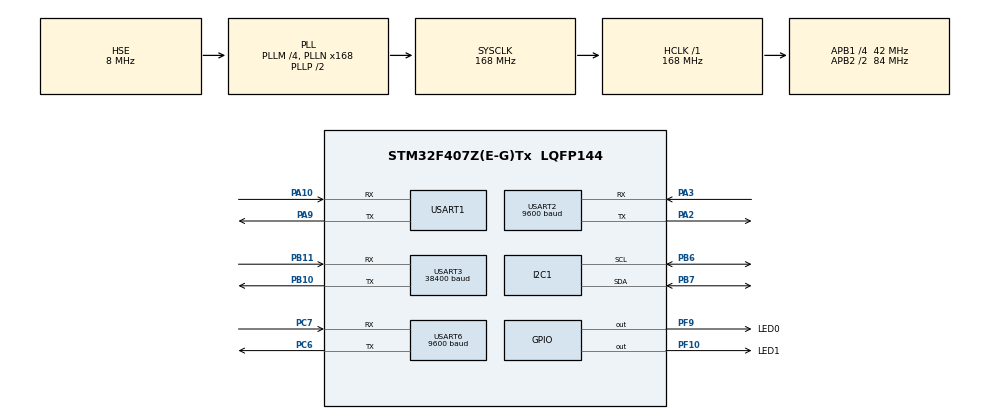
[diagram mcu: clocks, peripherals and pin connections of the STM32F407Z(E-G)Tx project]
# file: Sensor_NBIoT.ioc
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Mcu.Family=STM32F4
Mcu.Name=STM32F407Z(E-G)Tx
Mcu.Package=LQFP144
NVIC.PriorityGroup=NVIC_PRIORITYGROUP_4
NVIC.TIM2_IRQn=true\:10\:0\:true\:false\:true\:true\:true
NVIC.TIM3_IRQn=true\:0\:0\:false\:false\:true\:true\:true
NVIC.USART3_IRQn=true\:0\:0\:false\:false\:true\:true\:true
PA10.Mode=Asynchronous
PA10.Signal=USART1_RX
PA13.Mode=Serial_Wire
PA13.Signal=SYS_JTMS-SWDIO
PA14.Mode=Serial_Wire
PA14.Signal=SYS_JTCK-SWCLK
PA2.Mode=Asynchronous
PA2.Signal=USART2_TX
PA3.Mode=Asynchronous
PA3.Signal=USART2_RX
PA9.Mode=Asynchronous
PA9.Signal=USART1_TX
PB10.Mode=Asynchronous
PB10.Signal=USART3_TX
PB11.Mode=Asynchronous
PB11.Signal=USART3_RX
PB6.Mode=I2C
PB6.Signal=I2C1_SCL
PB7.Mode=I2C
PB7.Signal=I2C1_SDA
PC6.Mode=Asynchronous
PC6.Signal=USART6_TX
PC7.Mode=Asynchronous
PC7.Signal=USART6_RX
PF10.GPIO_Label=LED1
PF10.PinState=GPIO_PIN_SET
PF10.Signal=GPIO_Output
PF9.GPIO_Label=LED0
PF9.PinState=GPIO_PIN_SET
PF9.Signal=GPIO_Output
PH0-OSC_IN.Mode=HSE-External-Oscillator
PH0-OSC_IN.Signal=RCC_OSC_IN
PH1-OSC_OUT.Mode=HSE-External-Oscillator
PH1-OSC_OUT.Signal=RCC_OSC_OUT
ProjectManager.HeapSize=0x200
ProjectManager.StackSize=0x400
ProjectManager.TargetToolchain=SW4STM32
RCC.48MHZClocksFreq_Value=84000000
RCC.AHBFreq_Value=168000000
RCC.APB1CLKDivider=RCC_HCLK_DIV4
RCC.APB1Freq_Value=42000000
RCC.APB1TimFreq_Value=84000000
RCC.APB2CLKDivider=RCC_HCLK_DIV2
RCC.APB2Freq_Value=84000000
RCC.APB2TimFreq_Value=168000000
RCC.CortexFreq_Value=168000000
RCC.HCLKFreq_Value=168000000
RCC.HSE_VALUE=8000000
RCC.HSI_VALUE=16000000
RCC.LSE_VALUE=32768
RCC.PLLM=4
RCC.PLLN=168
RCC.PLLSourceVirtual=RCC_PLLSOURCE_HSE
RCC.SYSCLKFreq_VALUE=168000000
RCC.SYSCLKSource=RCC_SYSCLKSOURCE_PLLCLK
RCC.VCOOutputFreq_Value=336000000
TIM2.AutoReloadPreload=TIM_AUTORELOAD_PRELOAD_ENABLE
TIM2.Period=4999
TIM2.Prescaler=8399
TIM3.AutoReloadPreload=TIM_AUTORELOAD_PRELOAD_ENABLE
TIM3.Period=99
TIM3.Prescaler=8399
USART1.VirtualMode=VM_ASYNC
USART2.BaudRate=9600
USART2.VirtualMode=VM_ASYNC
USART3.BaudRate=38400
USART3.VirtualMode=VM_ASYNC
USART6.BaudRate=9600
USART6.VirtualMode=VM_ASYNC
VP_TIM2_VS_ClockSourceINT.Mode=Internal
VP_TIM3_VS_ClockSourceINT.Mode=Internal
board=custom

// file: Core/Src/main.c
/* USER CODE BEGIN Header */
/**
  ******************************************************************************
  * @file           : main.c
  * @brief          : Main program body
  ******************************************************************************
  * @attention
  *
  * <h2><center>&copy; Copyright (c) 2020 STMicroelectronics.
  * All rights reserved.</center></h2>
  *
  * This software component is licensed by ST under BSD 3-Clause license,
  * the "License"; You may not use this file except in compliance with the
  * License. You may obtain a copy of the License at:
  *                        opensource.org/licenses/BSD-3-Clause
  *
  ******************************************************************************
  */
/* USER CODE END Header */
#include "main.h"
#include "i2c.h"
#include "tim.h"
#include "usart.h"
#include "gpio.h"

/* USER CODE BEGIN Includes */
#include <retarget.h>
#include <stdio.h>
#include <math.h>
#include "gps.h"
#include "wh-nb73.h"
#include "INA226.h"
/* USER CODE END Includes */

/* USER CODE BEGIN PD */
#define PI 3.14159265
/* USER CODE END PD */

/* USER CODE BEGIN PV */
/*-------------------Sensor-------------------*/
uint8_t soil_temperature_humidity_ask[8] = {0x01, 0x03, 0x00, 0x00, 0x00, 0x02, 0xc4, 0x0b};
uint8_t soil_temperature_humidity_answer[9];
float soil_temperature, soil_humidity;

uint8_t wind_direction_ask[8] = {0x02, 0x03, 0x00, 0x00, 0x00, 0x02, 0xc4, 0x38};
uint8_t wind_direction_answer[9];
float wind_direction;

uint8_t wind_speed_ask[8] = {0x03, 0x03, 0x00, 0x00, 0x00, 0x01, 0x85, 0xe8};
uint8_t wind_speed_answer[7];
float wind_speed;

uint8_t air_multi_element_ask[8] = {0x04, 0x03, 0x01, 0xf4, 0x00, 0x08, 0x04, 0x57};
uint8_t air_multi_element_answer[21];
float air_temperature, air_humidity, air_noise;
short  air_pressure, air_pm2_5, air_pm10;
int air_light;

uint8_t air_quality_ask[8] = {0x0A, 0x03, 0x00, 0x05, 0x00, 0x02, 0xD5, 0x71};
uint8_t air_quality_answer[9];
uint16_t air_CO2, air_CO;

uint8_t air_quality_ask2[8] = {0x0A, 0x03, 0x00, 0x0A, 0x00, 0x01, 0xA5, 0x73};
uint8_t air_quality_answer2[7];
float air_O2;

/*-------------------GPS-------------------*/
uint8_t USART1_TX_BUF[USART3_MAX_RECV_LEN];//串口1,发送缓存区
nmea_msg gpsx;//GPS信息
uint8_t dtbuf[50];//打印缓存器
const char *fixmode_tbl[4] = {"Fail","Fail"," 2D "," 3D "};	//fix mode字符串

/*-------------------Wind Sensor-------------------*/
uint16_t wind_direction_raw[500];
uint16_t wind_speed_raw[500];
int wind_data_num;
uint16_t wind_direction_average;
uint16_t wind_speed_average;
uint16_t wind_direction_max;
uint16_t wind_speed_max = 0;

/*-------------------Power Source Sensor-------------------*/
float bus_voltage_raw;
float bus_power_raw;
float shunt_voltage_raw;
float shunt_current_raw;
int power_data_num;
float bus_power_raw_buf[200];
uint32_t bus_voltage;
uint16_t shunt_current;
int16_t bus_power;
int16_t bus_power_average;
/* USER CODE END PV */

void SystemClock_Config(void);

/* USER CODE BEGIN 0 */
void readSensor(void)
{
    uint16_t crc_data;
    uint8_t data = 0;
    printf("-------------------Sensor-------------------\r\n");
    HAL_Delay(200);
    //Sensor - soil_temperature_humidity
    HAL_UART_Transmit(&huart2, soil_temperature_humidity_ask, 8, 100);
    while (1){
        HAL_UART_Receive(&huart2, &data,1,100);
        while (data != 0x01) {
            if (HAL_UART_Receive(&huart2, &data,1,100) != HAL_OK){
                break;
            }
        }
        if (data == 0x01) {
            soil_temperature_humidity_answer[0] = 0x01;
            HAL_UART_Receive(&huart2,soil_temperature_humidity_answer + 1,8,100);
        }
        if (soil_temperature_humidity_answer[0] == 0x01){
            crc_data = (uint16_t)(soil_temperature_humidity_answer[8] << 8) + soil_temperature_humidity_answer[7];
            if(crc16(soil_temperature_humidity_answer, 7) == crc_data){
                break;
            }
        }
        printf("Sensor - soil_temperature_humidity Read Error!\r\n");
        HAL_Delay(200);
        HAL_UART_Transmit(&huart2, soil_temperature_humidity_ask, 8, 100);
    }
    soil_humidity = (((uint16_t)soil_temperature_humidity_answer[3] << 8) + soil_temperature_humidity_answer[4])/10.0;
    soil_temperature = (((int16_t)soil_temperature_humidity_answer[5] << 8) + soil_temperature_humidity_answer[6])/10.0;
    printf("soil_humidity = %.1f%% RH, soil_temperature = %.1f C\r\n", soil_humidity, soil_temperature);

    HAL_Delay(200);
    //Sensor - air_multi_element
    HAL_UART_Transmit(&huart2, air_multi_element_ask, 8, 100);
    while (1){
        HAL_UART_Receive(&huart2, &data,1,100);
        while (data != 0x04) {
            if (HAL_UART_Receive(&huart2, &data,1,100) != HAL_OK){
                break;
            }
        }
        if (data == 0x04) {
            air_multi_element_answer[0] = 0x04;
            HAL_UART_Receive(&huart2,air_multi_element_answer + 1,20,100);
        }
        if (air_multi_element_answer[0] == 0x04){
            crc_data = (uint16_t)(air_multi_element_answer[20] << 8) + air_multi_element_answer[19];
            if(crc16(air_multi_element_answer, 19) == crc_data){
                break;
            }
        }
        printf("Sensor - air_multi_element Read Error!\r\n");
        HAL_UART_Transmit(&huart2, air_multi_element_ask, 8, 100);
    }
    air_humidity = (((uint16_t)air_multi_element_answer[3] << 8) + air_multi_element_answer[4])/10.0;
    air_temperature = (((int16_t)air_multi_element_answer[5] << 8) + air_multi_element_answer[6])/10.0;
    air_noise = (((uint16_t)air_multi_element_answer[7] << 8) + air_multi_element_answer[8])/10.0;
    air_pm2_5 = ((uint16_t)air_multi_element_answer[9] << 8) + air_multi_element_answer[10];
    air_pm10 = ((uint16_t)air_multi_element_answer[11] << 8) + air_multi_element_answer[12];
    air_pressure = ((uint16_t)air_multi_element_answer[13] << 8) + air_multi_element_answer[14];
    air_light = ((uint32_t)air_multi_element_answer[15] << 24) + ((uint32_t)air_multi_element_answer[16] << 16) +
                ((uint32_t)air_multi_element_answer[17] << 8) + air_multi_element_answer[18];
    printf("air_humidity = %.1f%% RH, air_temperature = %.1f C\r\n", air_humidity, air_temperature);
    printf("air_pm2.5 = %d ug/m^3, air_pm10 = %d ug/m^3\r\n", air_pm2_5, air_pm10);
    printf("air_pressure = %d hpa, air_light = %d Lux\r\n", air_pressure, air_light);

    HAL_Delay(200);
    //Sensor - air_quality
    HAL_UART_Transmit(&huart2, air_quality_ask, 8, 100);
    while (1){
        HAL_UART_Receive(&huart2, &data,1,100);
        while (data != 0x0A) {
            if (HAL_UART_Receive(&huart2, &data,1,100) != HAL_OK){
                break;
            }
        }
        if (data == 0x0A) {
            air_quality_answer[0] = 0x0A;
            HAL_UART_Receive(&huart2,air_quality_answer + 1,8,100);
        }
        if (air_quality_answer[0] == 0x0A){
            crc_data = (uint16_t)(air_quality_answer[8] << 8) + air_quality_answer[7];
            if(crc16(air_quality_answer, 7) == crc_data){
                break;
            }
        }
        printf("Sensor - air_quality Read Error!\r\n");
        HAL_UART_Transmit(&huart2, air_quality_ask, 8, 100);
    }
    air_CO2 = ((uint16_t)air_quality_answer[3] << 8) + air_quality_answer[4];
    air_CO = ((uint16_t)air_quality_answer[5] << 8) + air_quality_answer[6];
    printf("air_CO2 = %d ppm, air_CO = %d ppm\r\n", air_CO2, air_CO);

    HAL_Delay(200);
    HAL_UART_Transmit(&huart2, air_quality_ask2, 8, 100);
    while (1){
        HAL_UART_Receive(&huart2, &data,1,100);
        while (data != 0x0A) {
            if (HAL_UART_Receive(&huart2, &data,1,100) != HAL_OK){
                break;
            }
        }
        if (data == 0x0A) {
            air_quality_answer2[0] = 0x0A;
            HAL_UART_Receive(&huart2,air_quality_answer2 + 1,6,100);
        }
        if (air_quality_answer2[0] == 0x0A){
            crc_data = (uint16_t)(air_quality_answer2[6] << 8) + air_quality_answer2[5];
            if(crc16(air_quality_answer2, 5) == crc_data){
                break;
            }
        }
        printf("Sensor - air O2 Read Error!\r\n");
        HAL_UART_Transmit(&huart2, air_quality_ask2, 8, 100);
    }
    air_O2 = (((uint16_t)air_quality_answer2[3] << 8) + air_quality_answer2[4]) / 10.0;
    printf("air_O2 = %.1f %%\r\n", air_O2);
}

void readWindSensor(void)
{
    uint16_t crc_data;
    uint8_t data = 0;
    printf("-------------------Sensor-------------------\r\n");
    HAL_Delay(200);
    //Sensor - wind_direction
    HAL_UART_Transmit(&huart2, wind_direction_ask, 8, 100);
    while (1){
        HAL_UART_Receive(&huart2, &data,1,100);
        while (data != 0x02) {
            if (HAL_UART_Receive(&huart2, &data,1,100) != HAL_OK){
                break;
            }
        }
        if (data == 0x02) {
            wind_direction_answer[0] = 0x02;
            HAL_UART_Receive(&huart2,wind_direction_answer + 1,8,100);
        }
        if (wind_direction_answer[0] == 0x02){
            crc_data = (uint16_t)(wind_direction_answer[8] << 8) + wind_direction_answer[7];
            if(crc16(wind_direction_answer, 7) == crc_data){
                break;
            }
        }
        printf("Sensor - wind_direction Read Error!\r\n");
        HAL_UART_Transmit(&huart2, wind_direction_ask, 8, 100);
    }
    wind_direction = (((uint16_t)wind_direction_answer[3] << 8) + wind_direction_answer[4])/10.0;
    printf("wind_direction = %.1f degree\r\n", wind_direction);

    HAL_Delay(200);
    //Sensor - wind_speed
    HAL_UART_Transmit(&huart2, wind_speed_ask, 8, 100);
    while (1){
        HAL_UART_Receive(&huart2, &data,1,100);
        while (data != 0x03) {
            if (HAL_UART_Receive(&huart2, &data,1,100) != HAL_OK){
                break;
            }
        }
        if (data == 0x03) {
            wind_speed_answer[0] = 0x03;
            HAL_UART_Receive(&huart2,wind_speed_answer + 1,6,100);
        }
        if (wind_speed_answer[0] == 0x03){
            crc_data = (uint16_t)(wind_speed_answer[6] << 8) + wind_speed_answer[5];
            if(crc16(wind_speed_answer, 5) == crc_data){
                break;
            }
        }
        printf("Sensor - wind_speed Read Error!\r\n");
        HAL_UART_Transmit(&huart2, wind_speed_ask, 8, 100);
    }
    wind_speed = (((uint16_t)wind_speed_answer[3] << 8) + wind_speed_answer[4])/10.0;
    printf("wind_speed = %.1f m/s\r\n", wind_speed);
}

void windSensorProcess(void)
{
    wind_direction_raw[wind_data_num] = ((uint16_t)wind_direction_answer[3] << 8) + wind_direction_answer[4];
    wind_speed_raw[wind_data_num] = ((uint16_t)wind_speed_answer[3] << 8) + wind_speed_answer[4];
    wind_data_num++;
    if (wind_data_num == 200){
        int wind_speed_sum = 0, wind_max_index = 0;
        double wind_direction_u = 0, wind_direction_v = 0;
        wind_speed_max = 0;
        for (int i = 0; i < 200; ++i) {
            wind_direction_u += sin((wind_direction_raw[i] / 10.0) * PI / 180);
            wind_direction_v += cos((wind_direction_raw[i] / 10.0) * PI / 180);
            wind_speed_sum += wind_speed_raw[i];
            if(wind_speed_raw[i] > wind_speed_max){
                wind_max_index = i;
                wind_speed_max = wind_speed_raw[i];
            }
        }
        if (wind_direction_u >= 0 && wind_direction_v > 0){
            wind_direction_average = (uint16_t)((atan(wind_direction_u / wind_direction_v) * 180 / PI) * 10);
        }
        else if (wind_direction_u >= 0 && wind_direction_v < 0){
            wind_direction_average = (uint16_t)((atan(wind_direction_u / wind_direction_v) * 180 / PI + 180) * 10);
        }
        else if (wind_direction_u < 0 && wind_direction_v < 0){
            wind_direction_average = (uint16_t)((atan(wind_direction_u / wind_direction_v) * 180 / PI + 180) * 10);
        }
        else if (wind_direction_u < 0 && wind_direction_v > 0){
            wind_direction_average = (uint16_t)((atan(wind_direction_u / wind_direction_v) * 180 / PI + 360) * 10);
        }
        else if (wind_direction_u >= 0 && wind_direction_v == 0){
            wind_direction_average = (uint16_t)(90 * 10);
        }
        else if (wind_direction_u < 0 && wind_direction_v == 0){
            wind_direction_average = (uint16_t)(270 * 10);
        }

        wind_speed_average = wind_speed_sum / 200;
        wind_direction_max = wind_direction_raw[wind_max_index];
        wind_data_num = 0;
    }
    printf("wind_direction_average = %.1f degree\r\n", wind_direction_average/10.0);
    printf("wind_speed_average = %.1f m/s\r\n", wind_speed_average/10.0);
    printf("wind_direction_max = %.1f degree\r\n", wind_direction_max/10.0);
    printf("wind_speed_max = %.1f m/s\r\n", wind_speed_max/10.0);
}

void Gps_Msg_Show(void)
{
    float tp;
    tp = gpsx.longitude;
    sprintf((char *)dtbuf, "Longitude:%.5f %1c   ", tp/100000, gpsx.ewhemi);	//得到经度字符串
    printf("%s\r\n",dtbuf);
    tp = gpsx.latitude;
    sprintf((char *)dtbuf, "Latitude:%.5f %1c   ", tp/100000, gpsx.nshemi);	//得到纬度字符串
    printf("%s\r\n", dtbuf);
    tp = gpsx.altitude;
    sprintf((char *)dtbuf, "Altitude:%.1fm     ", tp/10);	    			//得到高度字符串
    printf("%s\r\n", dtbuf);
    tp = gpsx.speed;
    sprintf((char *)dtbuf, "Speed:%.3fkm/h     ", tp/1000);		    		//得到速度字符串
    printf("%s\r\n", dtbuf);
    if(gpsx.fixmode <= 3)														//定位状态
    {
        sprintf((char *)dtbuf, "Fix Mode:%s", fixmode_tbl[gpsx.fixmode]);
        printf("%s\r\n", dtbuf);
    }
    sprintf((char *)dtbuf, "GPS+BD Valid satellite:%02d", gpsx.posslnum);	 	//用于定位的GPS卫星数
    printf("%s\r\n", dtbuf);
    sprintf((char *)dtbuf, " GPS Visible satellite:%02d", gpsx.svnum%100);	 	//可见GPS卫星数
    printf("%s\r\n", dtbuf);
    sprintf((char *)dtbuf, "BD Visible satellite:%02d", gpsx.beidou_svnum%100);//可见北斗卫星数
    printf("%s\r\n", dtbuf);
    sprintf((char *)dtbuf, "UTC Date:%04d/%02d/%02d   ", gpsx.utc.year, gpsx.utc.month, gpsx.utc.date);//显示UTC日期
    printf("%s\r\n", dtbuf);
    sprintf((char *)dtbuf, "UTC Time:%02d:%02d:%02d   ", gpsx.utc.hour, gpsx.utc.min, gpsx.utc.sec);//显示UTC时间
    printf("%s\r\n", dtbuf);
}

void readINA226(void)
{
    printf("Bus voltage:   ");
    bus_voltage_raw = INA226_readBusVoltage();
    printf("%5f", bus_voltage_raw);
    printf(" V\r\n");

//    printf("Bus power:     ");
//    bus_power_raw = INA226_readBusPower();
//    printf("%5f", bus_power_raw);
//    printf(" W\r\n");

    printf("Shunt voltage: ");
    shunt_voltage_raw = INA226_readShuntVoltage();
    printf("%5f", shunt_voltage_raw);
    printf(" V\r\n");

    printf("Shunt current: ");
//    shunt_current_raw = INA226_readShuntCurrent();
    shunt_current_raw = shunt_voltage_raw * 10;//100 mOm
    printf("%5f", shunt_current_raw);
    printf(" A\r\n");

    bus_voltage = (uint16_t)(bus_voltage_raw * 1000);
    shunt_current = (int16_t)(shunt_current_raw * 1000);
//    bus_power = (uint16_t)(bus_power_raw * 100);

    bus_power_raw_buf[power_data_num] = bus_voltage_raw * shunt_current_raw;
    bus_power = (int16_t)(bus_power_raw_buf[power_data_num] * 100);

    printf("Bus power:     ");
    printf("%5f", bus_power_raw_buf[power_data_num]);
    printf(" W\r\n");

    printf("\r\n");

    power_data_num++;

    if (power_data_num == 200) {
        power_data_num = 0;
        float bus_power_raw_average = 0;
        for (int i = 0; i < 200; ++i) {
            bus_power_raw_average += bus_power_raw_buf[i];
        }
        bus_power_raw_average = bus_power_raw_average / 200;
        bus_power_average = (int16_t)(bus_power_raw_average * 100);
    }
}

void nb73_send(void)
{
    uint16_t crc;

    uint8_t tmp[61] = {0x01, 0x46, 0x00, 0x00, 0x00, 26, 52, 0x00};

    /*soil_humidity=data/10*/
    tmp[7] = soil_temperature_humidity_answer[3];
    tmp[8] = soil_temperature_humidity_answer[4];
    /*soil_temperature=data/10*/
    tmp[9] = soil_temperature_humidity_answer[5];
    tmp[10] = soil_temperature_humidity_answer[6];
    /*wind_direction=data/10*/
    tmp[11] = (uint8_t)(wind_direction_average>>8);
    tmp[12] = (uint8_t)(wind_direction_average);
    /*wind_speed=data/10*/
    tmp[13] = (uint8_t)(wind_speed_average>>8);
    tmp[14] = (uint8_t)(wind_speed_average);
    /*air_humidity=data/10*/
    tmp[15] = air_multi_element_answer[3];
    tmp[16] = air_multi_element_answer[4];
    /*air_temperature=data/10*/
    tmp[17] = air_multi_element_answer[5];
    tmp[18] = air_multi_element_answer[6];
    /*air_pm2.5=data*/
    tmp[19] = air_multi_element_answer[9];
    tmp[20] = air_multi_element_answer[10];
    /*air_pm10=data*/
    tmp[21] = air_multi_element_answer[11];
    tmp[22] = air_multi_element_answer[12];
    /*air_pressure=data/10*/
    tmp[23] = air_multi_element_answer[13];
    tmp[24] = air_multi_element_answer[14];
    /*air_light=data*/
    tmp[25] = air_multi_element_answer[15];
    tmp[26] = air_multi_element_answer[16];
    tmp[27] = air_multi_element_answer[17];
    tmp[28] = air_multi_element_answer[18];
    /*air_CO2=data*/
    tmp[29] = air_quality_answer[3];
    tmp[30] = air_quality_answer[4];
    /*air_CO=data*/
    tmp[31] = air_quality_answer[5];
    tmp[32] = air_quality_answer[6];
    /*air_O2=data*/
    tmp[33] = air_quality_answer2[3];
    tmp[34] = air_quality_answer2[4];
    /*gps_Longitude=data/100000*/
    tmp[35] = (uint8_t)(gpsx.longitude >> 24);
    tmp[36] = (uint8_t)(gpsx.longitude >> 16);
    tmp[37] = (uint8_t)(gpsx.longitude >> 8);
    tmp[38] = (uint8_t)(gpsx.longitude);
    /*gps_ewhemi=data*/
    tmp[39] = 0;
    if (gpsx.ewhemi == 'E') {
        tmp[40] = 1;
    }
    else if (gpsx.ewhemi == 'W') {
        tmp[40] = 2;
    }
    else {
        tmp[40] = 0;
    }
    /*gps_Latitude=data/100000*/
    tmp[41] = (uint8_t)(gpsx.latitude >> 24);
    tmp[42] = (uint8_t)(gpsx.latitude >> 16);
    tmp[43] = (uint8_t)(gpsx.latitude >> 8);
    tmp[44] = (uint8_t)(gpsx.latitude);
    /*gps_nshemi=data*/
    tmp[45] = 0;
    if (gpsx.nshemi == 'N') {
        tmp[46] = 1;
    }
    else if (gpsx.nshemi == 'S') {
        tmp[46] = 2;
    }
    else {
        tmp[46] = 0;
    }
    /*wind_direction=data/10*/
    tmp[47] = (uint8_t)(wind_direction_max>>8);
    tmp[48] = (uint8_t)(wind_direction_max);
    /*wind_speed=data/10*/
    tmp[49] = (uint8_t)(wind_speed_max>>8);
    tmp[50] = (uint8_t)(wind_speed_max);
    /*bus voltage=data/1000*/
    tmp[51] = (uint8_t)(bus_voltage>>8);
    tmp[52] = (uint8_t)(bus_voltage);
    /*shunt current=data/1000*/
    tmp[53] = (uint8_t)(shunt_current>>8);
    tmp[54] = (uint8_t)(shunt_current);
    /*bus power average=data/100*/
    tmp[55] = (uint8_t)(bus_power_average>>8);
    tmp[56] = (uint8_t)(bus_power_average);
    /*bus power=data/100*/
    tmp[57] = (uint8_t)(bus_power>>8);
    tmp[58] = (uint8_t)(bus_power);

    crc = crc16(tmp, sizeof(tmp) - 2);

    tmp[59] = crc & 0xff;
    tmp[60] = crc >> 8;

    HAL_UART_Transmit(&huart6, tmp, sizeof(tmp), 200);
}
/* USER CODE END 0 */

int main(void)
{
  /* USER CODE BEGIN 1 */
    uint16_t i,rxlen;
    uint8_t key;
    bool read_flag = false;
    uint8_t send_flag = 0;
  /* USER CODE END 1 */

  /* MCU Configuration--------------------------------------------------------*/

  /* Reset of all peripherals, Initializes the Flash interface and the Systick. */
  HAL_Init();

  /* Configure the system clock */
  SystemClock_Config();

  /* Initialize all configured peripherals */
  MX_GPIO_Init();
  MX_USART1_UART_Init();
  MX_TIM2_Init();
  MX_USART2_UART_Init();
  MX_TIM3_Init();
  MX_USART3_UART_Init();
  MX_USART6_UART_Init();
  MX_I2C1_Init();
  /* USER CODE BEGIN 2 */
    RetargetInit(&huart1);

    HAL_Delay(5000);
    USART3_RX_STA = 0;//清零
    HAL_UART_Receive_IT(&huart3, &rx3_data, 1); // 开启第一次接收中断
    if(SkyTra_Cfg_Rate(5) != 0)	//设置定位信息更新速度为5Hz,顺便判断GPS模块是否在位.
    {
        printf("SkyTraF8-BD Init...\r\n");
        do{
            SkyTra_Cfg_Prt(3);//设置模块的波特率为38400
            key = SkyTra_Cfg_Tp(100000);//脉冲宽度为100ms
        }while(SkyTra_Cfg_Rate(5)!=0 && key!=0);//配置SkyTraF8-BD的更新速率为5Hz
        printf("SkyTraF8-BD Init Finish\r\n");
    }

    printf("Initialize INA226\r\n");
    printf("-----------------------------------------------\r\n");
    // Configure INA226
    INA226_configure(INA226_AVERAGES_1, INA226_BUS_CONV_TIME_1100US, INA226_SHUNT_CONV_TIME_1100US, INA226_MODE_SHUNT_BUS_CONT);

    // Calibrate INA226. Rshunt = 0.01 ohm, Max excepted current = 4A
    INA226_calibrate(0.01, 4);

    // Display configuration
    INA226_checkConfig();
    printf("-----------------------------------------------\r\n");

    HAL_TIM_Base_Start_IT(&htim2);
  /* USER CODE END 2 */

  /* Infinite loop */
  /* USER CODE BEGIN WHILE */
  while (1)
  {
      /*-------------------GPS-------------------*/
      printf("-------------------GPS-------------------\r\n");
      if(USART3_RX_STA & 0X8000)		//接收到一次数据了
      {
          rxlen = USART3_RX_STA & 0X7FFF;	//得到数据长度
          for(i = 0; i < rxlen; i++) {
              USART1_TX_BUF[i] = USART3_RX_BUF[i];
          }
          USART3_RX_STA = 0;		   	//启动下一次接收
          USART1_TX_BUF[i] = 0;			//自动添加结束符

          GPS_Analysis(&gpsx, (uint8_t *)USART1_TX_BUF);//分析字符串
          Gps_Msg_Show();//显示信息
          printf("\r\n");
      }

      readWindSensor();
      windSensorProcess();
      readINA226();

      if (gpsx.utc.min % 10 == 0 && read_flag == true){
          send_flag++;
          if (send_flag >= 2){
              send_flag = 0;
              readSensor();
              nb73_send();
              read_flag = false;
          }
      }
      if (gpsx.utc.min % 10 == 9 && read_flag == false){
          read_flag = true;
      }

      HAL_GPIO_TogglePin(LED1_GPIO_Port, LED1_Pin);
      HAL_Delay(100);
      HAL_GPIO_TogglePin(LED1_GPIO_Port, LED1_Pin);

      HAL_Delay(1500);
    /* USER CODE END WHILE */

  }
}

void SystemClock_Config(void)
{
  RCC_OscInitTypeDef RCC_OscInitStruct = {0};
  RCC_ClkInitTypeDef RCC_ClkInitStruct = {0};

  /** Configure the main internal regulator output voltage
  */
  __HAL_RCC_PWR_CLK_ENABLE();
  __HAL_PWR_VOLTAGESCALING_CONFIG(PWR_REGULATOR_VOLTAGE_SCALE1);
  /** Initializes the RCC Oscillators according to the specified parameters
  * in the RCC_OscInitTypeDef structure.
  */
  RCC_OscInitStruct.OscillatorType = RCC_OSCILLATORTYPE_HSE;
  RCC_OscInitStruct.HSEState = RCC_HSE_ON;
  RCC_OscInitStruct.PLL.PLLState = RCC_PLL_ON;
  RCC_OscInitStruct.PLL.PLLSource = RCC_PLLSOURCE_HSE;
  RCC_OscInitStruct.PLL.PLLM = 4;
  RCC_OscInitStruct.PLL.PLLN = 168;
  RCC_OscInitStruct.PLL.PLLP = RCC_PLLP_DIV2;
  RCC_OscInitStruct.PLL.PLLQ = 4;
  if (HAL_RCC_OscConfig(&RCC_OscInitStruct) != HAL_OK)
  {
    Error_Handler();
  }
  /** Initializes the CPU, AHB and APB buses clocks
  */
  RCC_ClkInitStruct.ClockType = RCC_CLOCKTYPE_HCLK|RCC_CLOCKTYPE_SYSCLK
                              |RCC_CLOCKTYPE_PCLK1|RCC_CLOCKTYPE_PCLK2;
  RCC_ClkInitStruct.SYSCLKSource = RCC_SYSCLKSOURCE_PLLCLK;
  RCC_ClkInitStruct.AHBCLKDivider = RCC_SYSCLK_DIV1;
  RCC_ClkInitStruct.APB1CLKDivider = RCC_HCLK_DIV4;
  RCC_ClkInitStruct.APB2CLKDivider = RCC_HCLK_DIV2;

  if (HAL_RCC_ClockConfig(&RCC_ClkInitStruct, FLASH_LATENCY_5) != HAL_OK)
  {
    Error_Handler();
  }
}

void Error_Handler(void)
{
}

/************************ (C) COPYRIGHT STMicroelectronics *****END OF FILE****/
